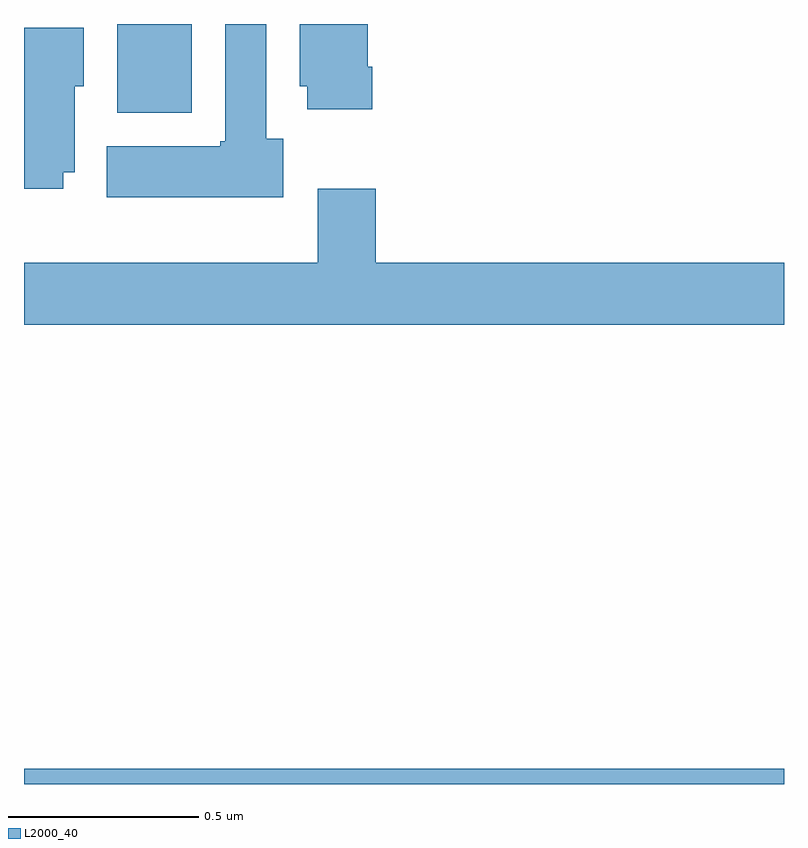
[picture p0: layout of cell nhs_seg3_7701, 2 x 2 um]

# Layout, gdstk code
import gdstk
lib = gdstk.Library(unit=1e-6, precision=1e-09)
def R(c, l, rs):  # rectangles x0, y0, x1, y1
    for r in rs: c.add(gdstk.rectangle(r[:2], r[2:], *l))
def P(c, l, *ps):  # polygons
    for p in ps: c.add(gdstk.Polygon(p, *l))
L2000_40 = (2000, 40)

nhs_seg3_7701 = lib.new_cell('nhs_seg3_7701')
R(nhs_seg3_7701, L2000_40, [(207,674.4,209,674.44), (207.245,676.166,207.442,676.4)])
P(nhs_seg3_7701, L2000_40, [(207.682,676.098),(207.637,676.098),(207.637,676.4),(207.53,676.4),(207.53,676.092),(207.517,676.092),(207.517,676.078),(207.218,676.078),(207.218,675.944),(207.682,675.944)],
  [(207.917,676.288),(207.904,676.288),(207.904,676.4),(207.725,676.4),(207.725,676.236),(207.746,676.236),(207.746,676.176),(207.917,676.176)],
  [(207.103,676.01),(207.133,676.01),(207.133,676.236),(207.157,676.236),(207.157,676.39),(207,676.39),(207,675.966),(207.103,675.966)],
  [(209,675.772),(207.926,675.772),(207.926,675.967),(207.773,675.967),(207.773,675.772),(207,675.772),(207,675.608),(209,675.608)])

lib.write_gds('nhs_seg3_7701.gds')
